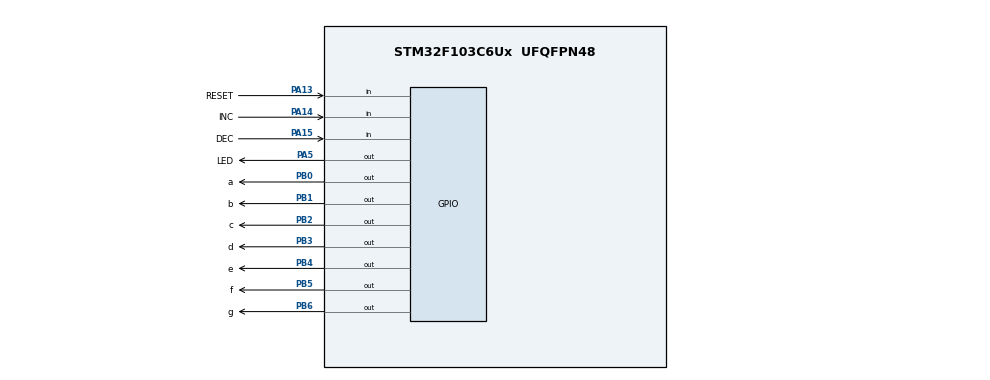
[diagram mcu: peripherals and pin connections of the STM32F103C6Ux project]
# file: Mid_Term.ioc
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Mcu.Family=STM32F1
Mcu.Name=STM32F103C6Ux
Mcu.Package=UFQFPN48
NVIC.PriorityGroup=NVIC_PRIORITYGROUP_4
NVIC.TIM2_IRQn=true\:0\:0\:false\:false\:true\:true\:true
PA13.GPIO_Label=RESET
PA13.GPIO_PuPd=GPIO_PULLUP
PA13.Signal=GPIO_Input
PA14.GPIO_Label=INC
PA14.GPIO_PuPd=GPIO_PULLUP
PA14.Signal=GPIO_Input
PA15.GPIO_Label=DEC
PA15.GPIO_PuPd=GPIO_PULLUP
PA15.Signal=GPIO_Input
PA5.GPIO_Label=LED
PA5.Signal=GPIO_Output
PB0.GPIO_Label=a
PB0.Signal=GPIO_Output
PB1.GPIO_Label=b
PB1.Signal=GPIO_Output
PB2.GPIO_Label=c
PB2.Signal=GPIO_Output
PB3.GPIO_Label=d
PB3.Signal=GPIO_Output
PB4.GPIO_Label=e
PB4.Signal=GPIO_Output
PB5.GPIO_Label=f
PB5.Signal=GPIO_Output
PB6.GPIO_Label=g
PB6.Signal=GPIO_Output
ProjectManager.HeapSize=0x200
ProjectManager.StackSize=0x400
ProjectManager.TargetToolchain=STM32CubeIDE
RCC.APB1Freq_Value=8000000
RCC.APB2Freq_Value=8000000
TIM2.Period=9
TIM2.Prescaler=7999
VP_SYS_VS_ND.Mode=No_Debug
VP_TIM2_VS_ClockSourceINT.Mode=Internal
board=custom

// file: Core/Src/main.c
/* USER CODE BEGIN Header */
/**
  ******************************************************************************
  * @file           : main.c
  * @brief          : Main program body
  ******************************************************************************
  * @attention
  *
  * <h2><center>&copy; Copyright (c) 2022 STMicroelectronics.
  * All rights reserved.</center></h2>
  *
  * This software component is licensed by ST under BSD 3-Clause license,
  * the "License"; You may not use this file except in compliance with the
  * License. You may obtain a copy of the License at:
  *                        opensource.org/licenses/BSD-3-Clause
  *
  ******************************************************************************
  */
/* USER CODE END Header */
#include "main.h"

/* USER CODE BEGIN Includes */
#include "global.h"
/* USER CODE END Includes */

TIM_HandleTypeDef htim2;

void SystemClock_Config(void);
static void MX_GPIO_Init(void);
static void MX_TIM2_Init(void);

int main(void)
{

  /* MCU Configuration--------------------------------------------------------*/

  /* Reset of all peripherals, Initializes the Flash interface and the Systick. */
  HAL_Init();

  /* Configure the system clock */
  SystemClock_Config();

  /* Initialize all configured peripherals */
  MX_GPIO_Init();
  MX_TIM2_Init();
  /* USER CODE BEGIN 2 */
  HAL_TIM_Base_Start_IT(&htim2) ;
  /* USER CODE END 2 */

  /* Infinite loop */
  /* USER CODE BEGIN WHILE */
  setTimer0(100);
  setTimer1(100);
  setTimer2(100);
  setTimer4(100);
  setTimer3(10000);
  while (1)
  {
	  if (timer0_flag == 1){
		  HAL_GPIO_TogglePin (GPIOA,LED_Pin) ;
		  setTimer0(1000);
	  }
	  if (timer3_flag == 1){
		  if (flag == 0) {
			  status = 3;
		  }
		  else flag = 0;
	  }
	  if (timer1_flag == 1){
		  display7SEG(counter);
		  setTimer1(250);
	  }

    /* USER CODE END WHILE */

  }
}

void SystemClock_Config(void)
{
  RCC_OscInitTypeDef RCC_OscInitStruct = {0};
  RCC_ClkInitTypeDef RCC_ClkInitStruct = {0};

  /** Initializes the RCC Oscillators according to the specified parameters
  * in the RCC_OscInitTypeDef structure.
  */
  RCC_OscInitStruct.OscillatorType = RCC_OSCILLATORTYPE_HSI;
  RCC_OscInitStruct.HSIState = RCC_HSI_ON;
  RCC_OscInitStruct.HSICalibrationValue = RCC_HSICALIBRATION_DEFAULT;
  RCC_OscInitStruct.PLL.PLLState = RCC_PLL_NONE;
  if (HAL_RCC_OscConfig(&RCC_OscInitStruct) != HAL_OK)
  {
    Error_Handler();
  }
  /** Initializes the CPU, AHB and APB buses clocks
  */
  RCC_ClkInitStruct.ClockType = RCC_CLOCKTYPE_HCLK|RCC_CLOCKTYPE_SYSCLK
                              |RCC_CLOCKTYPE_PCLK1|RCC_CLOCKTYPE_PCLK2;
  RCC_ClkInitStruct.SYSCLKSource = RCC_SYSCLKSOURCE_HSI;
  RCC_ClkInitStruct.AHBCLKDivider = RCC_SYSCLK_DIV1;
  RCC_ClkInitStruct.APB1CLKDivider = RCC_HCLK_DIV1;
  RCC_ClkInitStruct.APB2CLKDivider = RCC_HCLK_DIV1;

  if (HAL_RCC_ClockConfig(&RCC_ClkInitStruct, FLASH_LATENCY_0) != HAL_OK)
  {
    Error_Handler();
  }
}

static void MX_TIM2_Init(void)
{

  TIM_ClockConfigTypeDef sClockSourceConfig = {0};
  TIM_MasterConfigTypeDef sMasterConfig = {0};

  htim2.Instance = TIM2;
  htim2.Init.Prescaler = 7999;
  htim2.Init.CounterMode = TIM_COUNTERMODE_UP;
  htim2.Init.Period = 9;
  htim2.Init.ClockDivision = TIM_CLOCKDIVISION_DIV1;
  htim2.Init.AutoReloadPreload = TIM_AUTORELOAD_PRELOAD_DISABLE;
  if (HAL_TIM_Base_Init(&htim2) != HAL_OK)
  {
    Error_Handler();
  }
  sClockSourceConfig.ClockSource = TIM_CLOCKSOURCE_INTERNAL;
  if (HAL_TIM_ConfigClockSource(&htim2, &sClockSourceConfig) != HAL_OK)
  {
    Error_Handler();
  }
  sMasterConfig.MasterOutputTrigger = TIM_TRGO_RESET;
  sMasterConfig.MasterSlaveMode = TIM_MASTERSLAVEMODE_DISABLE;
  if (HAL_TIMEx_MasterConfigSynchronization(&htim2, &sMasterConfig) != HAL_OK)
  {
    Error_Handler();
  }

}

static void MX_GPIO_Init(void)
{
  GPIO_InitTypeDef GPIO_InitStruct = {0};

  /* GPIO Ports Clock Enable */
  __HAL_RCC_GPIOA_CLK_ENABLE();
  __HAL_RCC_GPIOB_CLK_ENABLE();

  /*Configure GPIO pin Output Level */
  HAL_GPIO_WritePin(LED_GPIO_Port, LED_Pin, GPIO_PIN_RESET);

  /*Configure GPIO pin Output Level */
  HAL_GPIO_WritePin(GPIOB, a_Pin|b_Pin|c_Pin|d_Pin
                          |e_Pin|f_Pin|g_Pin, GPIO_PIN_RESET);

  /*Configure GPIO pin : LED_Pin */
  GPIO_InitStruct.Pin = LED_Pin;
  GPIO_InitStruct.Mode = GPIO_MODE_OUTPUT_PP;
  GPIO_InitStruct.Pull = GPIO_NOPULL;
  GPIO_InitStruct.Speed = GPIO_SPEED_FREQ_LOW;
  HAL_GPIO_Init(LED_GPIO_Port, &GPIO_InitStruct);

  /*Configure GPIO pins : a_Pin b_Pin c_Pin d_Pin
                           e_Pin f_Pin g_Pin */
  GPIO_InitStruct.Pin = a_Pin|b_Pin|c_Pin|d_Pin
                          |e_Pin|f_Pin|g_Pin;
  GPIO_InitStruct.Mode = GPIO_MODE_OUTPUT_PP;
  GPIO_InitStruct.Pull = GPIO_NOPULL;
  GPIO_InitStruct.Speed = GPIO_SPEED_FREQ_LOW;
  HAL_GPIO_Init(GPIOB, &GPIO_InitStruct);

  /*Configure GPIO pins : RESET_Pin INC_Pin DEC_Pin */
  GPIO_InitStruct.Pin = RESET_Pin|INC_Pin|DEC_Pin;
  GPIO_InitStruct.Mode = GPIO_MODE_INPUT;
  GPIO_InitStruct.Pull = GPIO_PULLUP;
  HAL_GPIO_Init(GPIOA, &GPIO_InitStruct);

}

void Error_Handler(void)
{
  __disable_irq();
  while (1)
  {
  }
}

/************************ (C) COPYRIGHT STMicroelectronics *****END OF FILE****/
